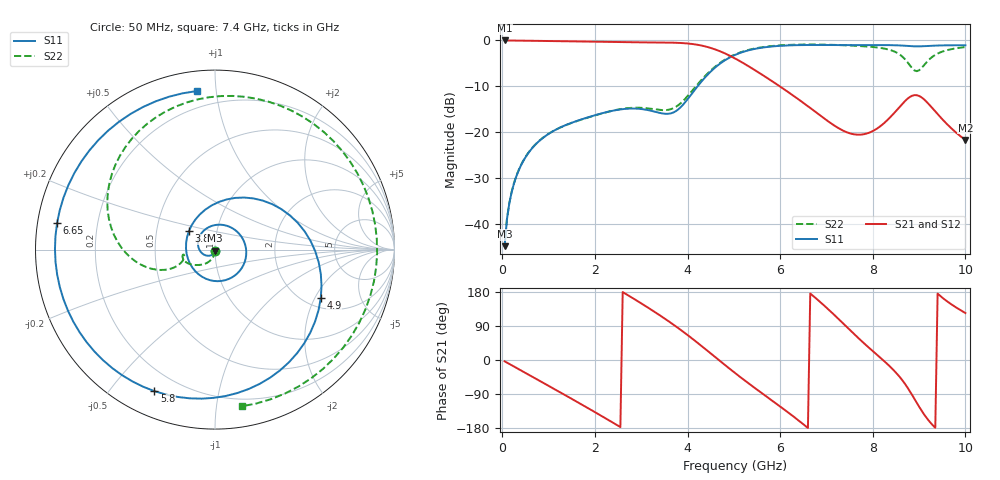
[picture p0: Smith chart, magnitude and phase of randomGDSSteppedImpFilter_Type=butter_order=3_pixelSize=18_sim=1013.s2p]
! freq	dB(S11)	phase(S11)	dB(S12)	phase(S12)
!  dB(S21)	phase(S21)	dB(S22)	phase(S22)
!S-par simulation data
#  GHz  S  DB  R 50
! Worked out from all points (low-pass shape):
!   200 points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, 50 MHz to 10 GHz, reference 50 ohm
!   highest |S21| = -0.01 dB at 50 MHz (marker M1); lowest = -21.6 dB at 10 GHz (marker M2)
!   |S21| within 3 dB of the highest: start of sweep to 4.847 GHz
!   lowest |S11| = -44.7 dB at 50 MHz (marker M3), VSWR 1.01, Z = 50 - j0.579 ohm
!   |S11| at or under -10 dB: start of sweep to 4.215 GHz
!   |S22| runs from -44.7 to -0.9 dB; largest |S21 - S12| = 0
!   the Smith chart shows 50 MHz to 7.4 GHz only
!   S11 on the Smith chart (normalised r, x): 50 MHz: 1.00, -0.01; 3.8 GHz: 0.73, +0.15; 4.9 GHz: 2.40, -2.23; 5.8 GHz: 0.11, -0.65; 6.65 GHz: 0.06, +0.08; 7.4 GHz: 0.11, +0.89
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0.05  -44.74 -92.1  -0.01 -3.5  -0.01 -3.5  -44.65 -88.1
0.2  -33.08 -108.9  -0.03 -13.7  -0.03 -13.7  -32.99 -96.5
0.5  -25.43 -140.2  -0.06 -34.1  -0.06 -34.1  -25.36 -108.7
1.15  -19.43 150.8  -0.14 -78.4  -0.14 -78.4  -19.43 -129.4
1.75  -17.04 80.9  -0.23 -120.0  -0.23 -120.0  -17.08 -142.2
2.6  -14.94 -21.7  -0.37 179.3  -0.37 179.3  -14.86 -159.7
3.4  -15.76 -132.4  -0.44 118.1  -0.44 118.1  -15.11 -170.5
3.8  -14.99 145.0  -0.53 84.1  -0.53 84.1  -14.08 -159.6
4.4  -7.80 38.4  -1.34 27.3  -1.34 27.3  -7.52 -168.5
4.9  -3.77 -24.6  -3.26 -22.2  -3.26 -22.2  -3.65 156.0
5.05  -3.05 -41.1  -4.05 -36.6  -4.05 -36.6  -2.94 143.7
5.8  -1.33 -113.2  -8.69 -104.9  -8.69 -104.9  -1.24 79.0
6.65  -0.99 170.5  -14.69 175.5  -14.69 175.5  -0.88 -1.3
6.7  -0.99 165.8  -15.07 170.4  -15.07 170.4  -0.88 -6.3
7.4  -1.02 96.6  -19.81 91.8  -19.81 91.8  -1.05 -80.4
7.95  -1.01 42.5  -19.95 28.8  -19.95 28.8  -1.38 -144.2
8.35  -1.02 7.6  -16.98 -14.6  -16.98 -14.6  -2.00 159.5
8.65  -1.13 -15.4  -13.66 -55.3  -13.66 -55.3  -3.62 96.1
8.9  -1.28 -31.3  -11.90 -102.6  -11.90 -102.6  -6.52 -1.1
9.1  -1.26 -42.3  -12.75 -142.1  -12.75 -142.1  -5.45 -94.5
9.4  -1.11 -58.4  -16.02 175.2  -16.02 175.2  -2.86 -172.1
10  -1.05 -87.2  -21.65 123.9  -21.65 123.9  -1.44 112.0
